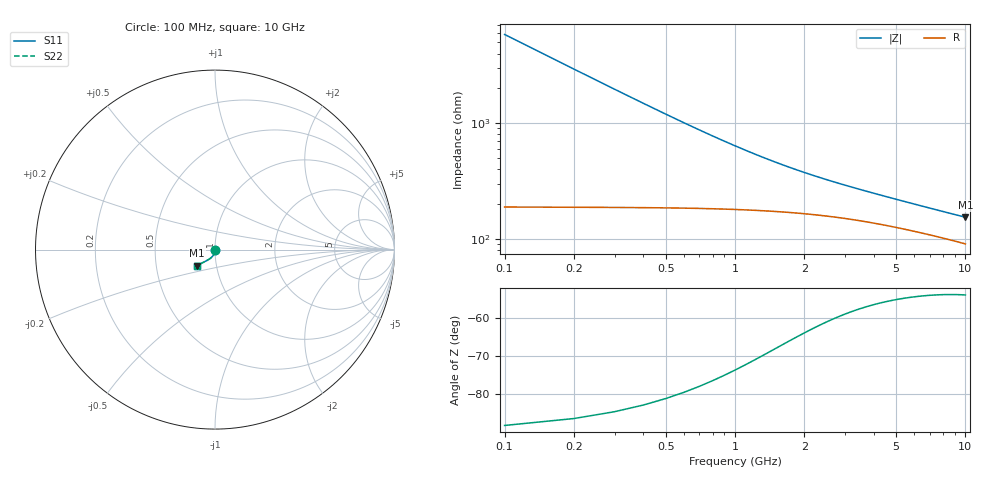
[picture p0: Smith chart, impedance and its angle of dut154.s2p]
! Touchstone file exported from HFSS 2024.1.0
!  File:  C:/UserFiles/LocalFiles/RDL_TSV_Batchsim/temp_TSV1_154_1778755236.aedt
!  Generated:  06:44:47 PM May 14, 2026
!  Design:  TSV1
!  Project:  temp_TSV1_154_1778755236
!  Setup:  Setup1
!  Solution:  Sweep
! Variables:
!  dtsv = 24.4um
!  hbump = 3um
!  htsv = 92.48um
!  lrdl = 252.1521522um
!  p = 40
!  p1 = 54.19um
!  t = 500um
!  trdl = 3um
!  wrdl = 24.89489489um
# GHz S MA R 50.000000
! Terminal data exported
! Port[1] = TSV22_T1
! Port[2] = TSV22_T2
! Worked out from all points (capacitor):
!   100 points, 100 MHz to 10 GHz, reference 50 ohm
!   read as one part in shunt: C = 272 fF near 100 MHz
!   lowest |Z| = 153 ohm at 10 GHz (marker M1)
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0.1  0.003989 -91.0  0.9998 -0.3  0.9998 -0.3  0.003989 -91.0
! Gamma 0 0 0 0
! Port Impedance 50 0 50 0
0.2  0.007953 -93.6  0.9993 -0.5  0.9993 -0.5  0.007953 -93.6
0.3  0.01187 -95.8  0.9986 -0.8  0.9986 -0.8  0.01187 -95.8
0.4  0.01572 -97.9  0.9976 -1.0  0.9976 -1.0  0.01572 -97.9
0.5  0.01949 -99.9  0.9963 -1.3  0.9963 -1.3  0.01949 -99.9
0.6  0.02315 -101.9  0.9949 -1.5  0.9949 -1.5  0.02315 -101.9
0.7  0.02669 -103.7  0.9933 -1.7  0.9933 -1.7  0.02669 -103.7
0.8  0.03011 -105.5  0.9916 -1.9  0.9916 -1.9  0.03011 -105.5
0.9  0.0334 -107.2  0.9898 -2.1  0.9898 -2.1  0.0334 -107.2
1.1  0.03955 -110.4  0.9861 -2.4  0.9861 -2.4  0.03955 -110.4
1.4  0.04777 -114.5  0.9803 -2.9  0.9803 -2.9  0.04777 -114.5
1.6  0.05262 -116.9  0.9766 -3.1  0.9766 -3.1  0.05262 -116.9
1.8  0.05702 -119.0  0.9729 -3.4  0.9729 -3.4  0.05702 -119.0
2.1  0.06292 -121.6  0.9678 -3.7  0.9678 -3.7  0.06292 -121.6
2.5  0.06971 -124.5  0.9617 -4.0  0.9617 -4.0  0.06971 -124.5
2.9  0.07561 -126.7  0.9562 -4.3  0.9562 -4.3  0.07561 -126.7
3.4  0.08208 -128.8  0.9502 -4.7  0.9502 -4.7  0.08208 -128.8
4.2  0.09102 -131.3  0.9421 -5.2  0.9421 -5.2  0.09102 -131.3
5.1  0.09969 -133.2  0.9344 -5.7  0.9344 -5.7  0.09969 -133.2
6.7  0.1127 -135.5  0.9233 -6.5  0.9233 -6.5  0.1127 -135.5
8.4  0.1243 -137.0  0.9138 -7.3  0.9138 -7.3  0.1243 -137.0
10  0.1338 -138.0  0.9064 -8.1  0.9064 -8.1  0.1338 -138.0
